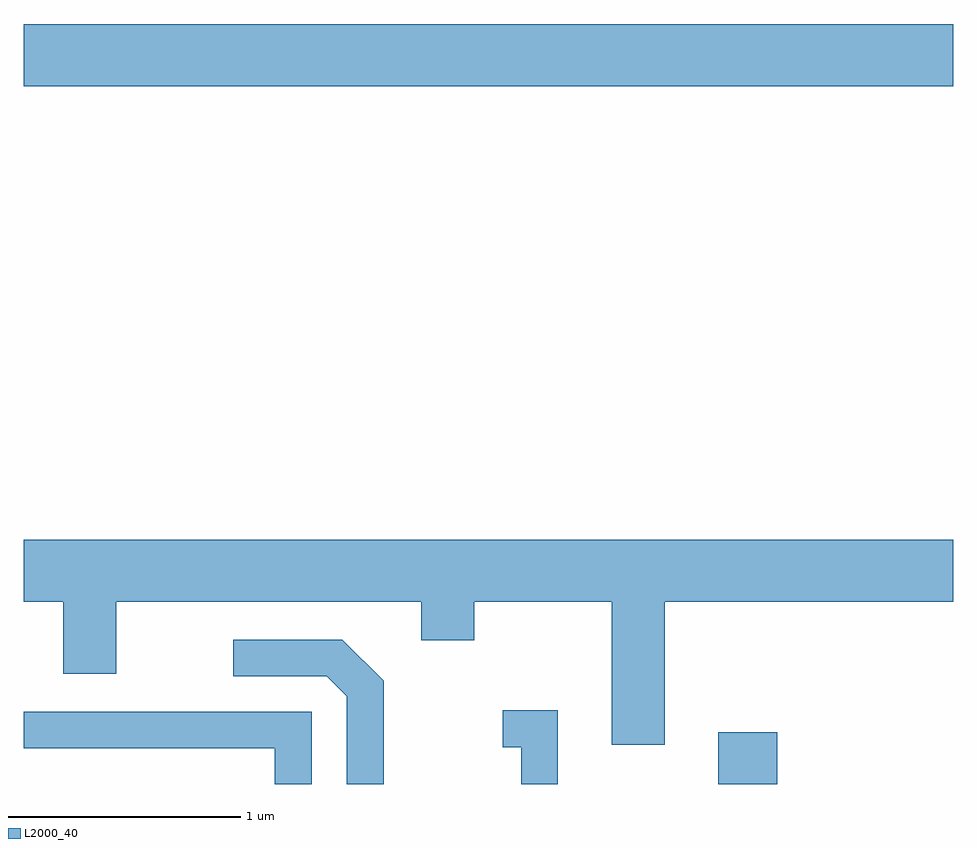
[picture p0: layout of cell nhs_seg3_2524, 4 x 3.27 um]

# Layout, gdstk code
import gdstk
lib = gdstk.Library(unit=1e-6, precision=1e-09)
def R(c, l, rs):  # rectangles x0, y0, x1, y1
    for r in rs: c.add(gdstk.rectangle(r[:2], r[2:], *l))
def P(c, l, *ps):  # polygons
    for p in ps: c.add(gdstk.Polygon(p, *l))
L2000_40 = (2000, 40)

nhs_seg3_2524 = lib.new_cell('nhs_seg3_2524')
R(nhs_seg3_2524, L2000_40, [(262.601,1131.892,262.854,1132.114), (259.611,1134.896,263.611,1135.164)])
P(nhs_seg3_2524, L2000_40, [(262.369,1132.676),(263.611,1132.676),(263.611,1132.944),(259.611,1132.944),(259.611,1132.676),(259.781,1132.676),(259.781,1132.366),(260.009,1132.366),(260.009,1132.676),(261.321,1132.676),(261.321,1132.511),(261.549,1132.511),(261.549,1132.676),(262.141,1132.676),(262.141,1132.061),(262.369,1132.061)],
  [(261.159,1132.337),(260.981,1132.514),(260.513,1132.514),(260.513,1132.356),(260.914,1132.356),(261.001,1132.269),(261.001,1131.892),(261.159,1131.892)],
  [(261.909,1132.209),(261.673,1132.209),(261.673,1132.051),(261.751,1132.051),(261.751,1131.892),(261.909,1131.892)],
  [(260.849,1132.204),(259.611,1132.204),(259.611,1132.046),(260.691,1132.046),(260.691,1131.892),(260.849,1131.892)])

lib.write_gds('nhs_seg3_2524.gds')
